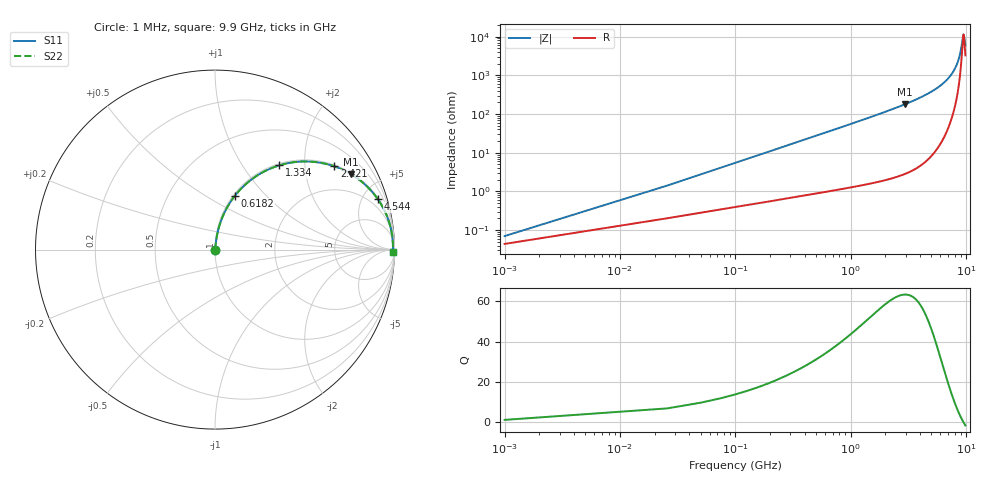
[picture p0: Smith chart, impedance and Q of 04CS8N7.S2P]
! Coilcraft 0402CS-8N7 Chip Inductor
! 22 July 2002
# MHZ S MA R 50
!Freq  MagS11  AngS11  MagS21  AngS21  MagS12  AngS12  MagS22  AngS22
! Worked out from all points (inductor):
!   402 points, 1 MHz to 9.9 GHz, reference 50 ohm
!   read as one part in series: L = 8.7 nH near 50.38 MHz
!   highest Q = 63.2 at 2.939 GHz (marker M1), where L = 9.61 nH
!   self-resonance near 9.531 GHz
!   S11 on the Smith chart (normalised r, x): 1 MHz: 1.00, +0.00; 618.2 MHz: 1.02, +0.68; 1.334 GHz: 1.03, +1.49; 2.421 GHz: 1.05, +2.83; 4.544 GHz: 1.12, +6.42; 9.9 GHz: open
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1  0.0007014 51.1  0.9996 -0.0  0.9996 -0.0  0.0007014 51.1
75.07  0.04101 82.9  0.9957 -2.3  0.9957 -2.3  0.04101 82.9
99.76  0.05439 82.8  0.9946 -3.1  0.9946 -3.1  0.05439 82.8
149.14  0.08103 82.0  0.9919 -4.6  0.9919 -4.6  0.08103 82.0
223.21  0.1206 80.3  0.9869 -6.9  0.9869 -6.9  0.1206 80.3
321.97  0.1725 77.8  0.9781 -9.9  0.9781 -9.9  0.1725 77.8
618.25  0.3187 69.8  0.9387 -18.6  0.9387 -18.6  0.3187 69.8
939.22  0.456 61.5  0.8793 -27.1  0.8793 -27.1  0.456 61.5
1334.26  0.5913 52.6  0.7947 -36.2  0.7947 -36.2  0.5913 52.6
1655.23  0.676 46.4  0.7246 -42.5  0.7246 -42.5  0.676 46.4
2420.62  0.8104 35.0  0.5729 -54.1  0.5729 -54.1  0.8104 35.0
2939.11  0.8654 29.2  0.4875 -59.9  0.4875 -59.9  0.8654 29.2
3309.46  0.8937 25.8  0.4346 -63.3  0.4346 -63.3  0.8937 25.8
4543.96  0.9497 17.2  0.2956 -71.7  0.2956 -71.7  0.9497 17.2
4963.69  0.9606 15.0  0.2582 -73.8  0.2582 -73.8  0.9606 15.0
6617.92  0.9841 8.1  0.1413 -79.5  0.1413 -79.5  0.9841 8.1
7556.14  0.9895 5.1  0.08959 -80.7  0.08959 -80.7  0.9895 5.1
8272.15  0.9913 3.1  0.05499 -79.4  0.05499 -79.4  0.9913 3.1
8914.09  0.9918 1.5  0.02717 -71.6  0.02717 -71.6  0.9918 1.5
9506.65  0.9914 0.1  0.008766 -10.0  0.008766 -10.0  0.9914 0.1
9630.1  0.9912 -0.2  0.009407 20.7  0.009407 20.7  0.9912 -0.2
9900  0.9908 -0.8  0.01659 55.7  0.01659 55.7  0.9908 -0.8
